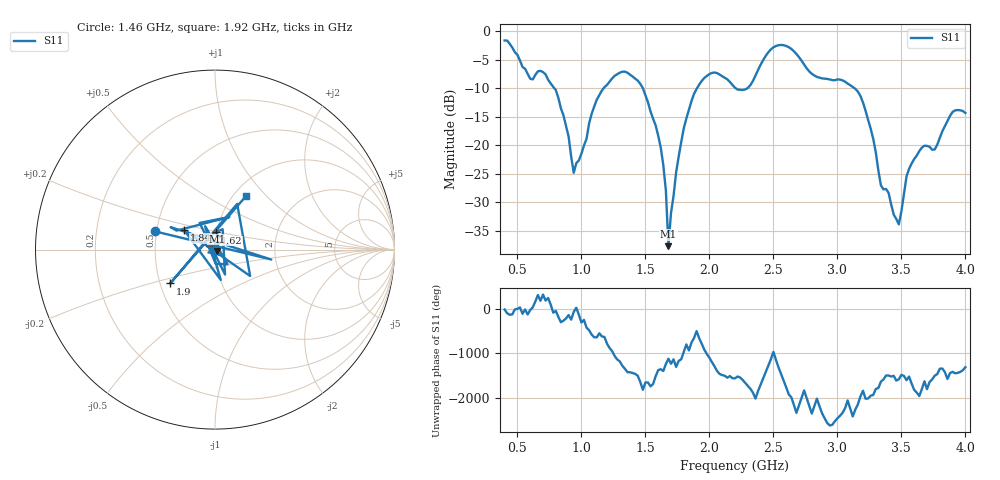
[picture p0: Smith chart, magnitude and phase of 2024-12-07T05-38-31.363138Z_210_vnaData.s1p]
!Created with skrf (http://scikit-rf.org).
# Hz S RI R 50.0
!freq ReS11 ImS11
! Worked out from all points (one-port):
!   181 points, 400 MHz to 4 GHz, reference 50 ohm
!   lowest |S11| = -37.7 dB at 1.68 GHz (marker M1), VSWR 1.03, Z = 51 - j0.806 ohm
!   |S11| at or under -10 dB: 789.6 MHz to 1.173 GHz (383 MHz wide, 39 % of centre); 1.481 GHz to 1.903 GHz (421.5 MHz wide, 24.9 % of centre); 3.136 GHz to end of sweep (the widest 3 of 4)
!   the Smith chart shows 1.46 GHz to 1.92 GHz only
!   S11 on the Smith chart (normalised r, x): 1.46 GHz: 0.49, +0.11; 1.62 GHz: 0.99, +0.19; 1.84 GHz: 0.69, +0.16; 1.9 GHz: 0.56, -0.24; 1.92 GHz: 1.14, +0.76
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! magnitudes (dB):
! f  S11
! 400 MHz  -1.6
! 600 MHz  -8.3
! 720 MHz  -7.5
! 860 MHz  -14.8
! 940 MHz  -24.8
! 1.12 GHz  -12.0
! 1.3 GHz  -7.2
! 1.46 GHz  -9.2
! 1.62 GHz  -20.4
! 1.66 GHz  -27.9
! 1.68 GHz  -37.7
! 1.76 GHz  -22.0
! 1.84 GHz  -13.7
! 1.9 GHz  -10.1
! 1.92 GHz  -9.3
! 2.04 GHz  -7.2
! 2.2 GHz  -9.9
! 2.3 GHz  -9.9
! 2.5 GHz  -2.8
! 2.66 GHz  -3.5
! 3.1 GHz  -9.4
! 3.2 GHz  -12.5
! 3.34 GHz  -27.0
! 3.48 GHz  -33.9
! 3.56 GHz  -24.1
! 3.76 GHz  -20.7
! 3.9 GHz  -14.1
! 4 GHz  -14.3
